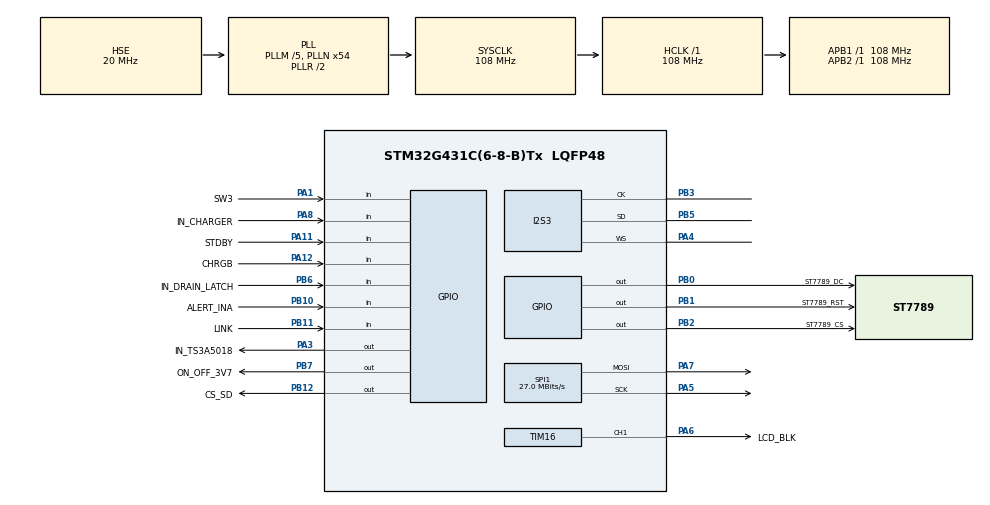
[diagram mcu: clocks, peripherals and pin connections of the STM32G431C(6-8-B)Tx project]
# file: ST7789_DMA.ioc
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Dma.Request0=SPI1_TX
Dma.SPI1_TX.0.Direction=DMA_MEMORY_TO_PERIPH
Dma.SPI1_TX.0.EventEnable=DISABLE
Dma.SPI1_TX.0.Instance=DMA1_Channel1
Dma.SPI1_TX.0.MemDataAlignment=DMA_MDATAALIGN_BYTE
Dma.SPI1_TX.0.MemInc=DMA_MINC_ENABLE
Dma.SPI1_TX.0.Mode=DMA_NORMAL
Dma.SPI1_TX.0.PeriphDataAlignment=DMA_PDATAALIGN_BYTE
Dma.SPI1_TX.0.PeriphInc=DMA_PINC_DISABLE
Dma.SPI1_TX.0.Polarity=HAL_DMAMUX_REQ_GEN_RISING
Dma.SPI1_TX.0.Priority=DMA_PRIORITY_LOW
Dma.SPI1_TX.0.RequestNumber=1
Dma.SPI1_TX.0.SignalID=NONE
Dma.SPI1_TX.0.SyncEnable=DISABLE
Dma.SPI1_TX.0.SyncPolarity=HAL_DMAMUX_SYNC_NO_EVENT
Dma.SPI1_TX.0.SyncRequestNumber=1
Dma.SPI1_TX.0.SyncSignalID=NONE
I2S3.AudioFreq=I2S_AUDIOFREQ_44K
I2S3.ErrorAudioFreq=-0.38 %
I2S3.FullDuplexMode=I2S_FULLDUPLEXMODE_DISABLE
I2S3.Instance=SPI$Index
I2S3.RealAudioFreq=43.831 KHz
I2S3.VirtualMode=I2S_MODE_MASTER
Mcu.Family=STM32G4
Mcu.Name=STM32G431C(6-8-B)Tx
Mcu.Package=LQFP48
NVIC.DMA1_Channel1_IRQn=true\:0\:0\:false\:false\:true\:false\:true\:true
NVIC.PriorityGroup=NVIC_PRIORITYGROUP_4
PA0.Mode=SYS_WakeUp0
PA0.Signal=SYS_WKUP1
PA1.GPIO_Label=SW3
PA1.Signal=GPIO_Input
PA11.GPIO_Label=STDBY
PA11.Signal=GPIO_Input
PA12.GPIO_Label=CHRGB
PA12.Signal=GPIO_Input
PA13.Mode=Serial_Wire
PA13.Signal=SYS_JTMS-SWDIO
PA14.Mode=Serial_Wire
PA14.Signal=SYS_JTCK-SWCLK
PA2.Mode=SYS_WakeUp3
PA2.Signal=SYS_WKUP4
PA3.GPIO_Label=IN_TS3A5018
PA3.Signal=GPIO_Output
PA4.Mode=Half_Duplex_Master
PA4.Signal=I2S3_WS
PA5.Mode=TX_Only_Simplex_Unidirect_Master
PA5.Signal=SPI1_SCK
PA6.GPIO_Label=LCD_BLK
PA6.Signal=S_TIM16_CH1
PA7.Mode=TX_Only_Simplex_Unidirect_Master
PA7.Signal=SPI1_MOSI
PA8.GPIO_Label=IN_CHARGER
PA8.Signal=GPIO_Input
PB0.GPIO_Label=ST7789_DC
PB0.GPIO_Speed=GPIO_SPEED_FREQ_VERY_HIGH
PB0.Signal=GPIO_Output
PB1.GPIO_Label=ST7789_RST
PB1.GPIO_Speed=GPIO_SPEED_FREQ_VERY_HIGH
PB1.Signal=GPIO_Output
PB10.GPIO_Label=ALERT_INA
PB10.GPIO_PuPd=GPIO_PULLUP
PB10.Signal=GPIO_Input
PB11.GPIO_Label=LINK
PB11.Signal=GPIO_Input
PB12.GPIO_Label=CS_SD
PB12.Signal=GPIO_Output
PB13.Signal=SPI2_SCK
PB2.GPIO_Label=ST7789_CS
PB2.GPIO_Speed=GPIO_SPEED_FREQ_VERY_HIGH
PB2.PinState=GPIO_PIN_SET
PB2.Signal=GPIO_Output
PB3.Mode=Half_Duplex_Master
PB3.Signal=I2S3_CK
PB5.Mode=Half_Duplex_Master
PB5.Signal=I2S3_SD
PB6.GPIO_Label=IN_DRAIN_LATCH
PB6.Signal=GPIO_Input
PB7.GPIO_Label=ON_OFF_3V7
PB7.Signal=GPIO_Output
PB9.Signal=I2C1_SDA
PC13.Mode=SYS_WakeUp1
PC13.Signal=SYS_WKUP2
PF0-OSC_IN.Mode=HSE-External-Oscillator
PF0-OSC_IN.Signal=RCC_OSC_IN
PF1-OSC_OUT.Mode=HSE-External-Oscillator
PF1-OSC_OUT.Signal=RCC_OSC_OUT
ProjectManager.HeapSize=0x200
ProjectManager.StackSize=0x400
ProjectManager.TargetToolchain=STM32CubeIDE
RCC.ADC12Freq_Value=108000000
RCC.AHBFreq_Value=108000000
RCC.APB1Freq_Value=108000000
RCC.APB1TimFreq_Value=108000000
RCC.APB2Freq_Value=108000000
RCC.APB2TimFreq_Value=108000000
RCC.CortexFreq_Value=108000000
RCC.EXTERNAL_CLOCK_VALUE=12288000
RCC.HCLKFreq_Value=108000000
RCC.HSE_VALUE=20000000
RCC.HSI48_VALUE=48000000
RCC.HSI_VALUE=16000000
RCC.LSE_VALUE=32768
RCC.PLLM=RCC_PLLM_DIV5
RCC.PLLN=54
RCC.PLLSourceVirtual=RCC_PLLSOURCE_HSE
RCC.SYSCLKFreq_VALUE=108000000
RCC.SYSCLKSource=RCC_SYSCLKSOURCE_PLLCLK
RCC.USBFreq_Value=108000000
RCC.VCOOutputFreq_Value=216000000
SH.S_TIM16_CH1.0=TIM16_CH1,PWM Generation1 CH1
SPI1.BaudRatePrescaler=SPI_BAUDRATEPRESCALER_4
SPI1.CLKPhase=SPI_PHASE_1EDGE
SPI1.CLKPolarity=SPI_POLARITY_HIGH
SPI1.CalculateBaudRate=27.0 MBits/s
SPI1.DataSize=SPI_DATASIZE_8BIT
SPI1.Direction=SPI_DIRECTION_2LINES
SPI1.Mode=SPI_MODE_MASTER
SPI1.VirtualType=VM_MASTER
TIM16.Channel=TIM_CHANNEL_1
TIM16.PeriodNoDither=209
TIM16.Prescaler=170-1
TIM16.PulseNoDither_1=105
VP_SYS_VS_DBSignals.Mode=DisableDeadBatterySignals
VP_TIM16_VS_ClockSourceINT.Mode=Enable_Timer
board=custom

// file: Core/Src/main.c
/* USER CODE BEGIN Header */
/**
  ******************************************************************************
  * @file           : main.c
  * @brief          : Main program body
  ******************************************************************************
  * @attention
  *
  * Copyright (c) 2025 STMicroelectronics.
  * All rights reserved.
  *
  * This software is licensed under terms that can be found in the LICENSE file
  * in the root directory of this software component.
  * If no LICENSE file comes with this software, it is provided AS-IS.
  *
  ******************************************************************************
  */
/* USER CODE END Header */
#include "main.h"

/* USER CODE BEGIN Includes */
#include "stdio.h"
#include "st7789.h"
/* USER CODE END Includes */

I2S_HandleTypeDef hi2s3;

SPI_HandleTypeDef hspi1;
DMA_HandleTypeDef hdma_spi1_tx;

TIM_HandleTypeDef htim16;

/* USER CODE BEGIN PV */
uint16_t freq_BLK = 5000;//5khz
uint16_t contInt=0;
float contFloat=0.0;
char buff[32];

/* USER CODE END PV */

void SystemClock_Config(void);
static void MX_GPIO_Init(void);
static void MX_DMA_Init(void);
static void MX_SPI1_Init(void);
static void MX_TIM16_Init(void);
static void MX_I2S3_Init(void);
/* USER CODE BEGIN PFP */
void PWM_set_Freq_DutyCycle(uint16_t freq, uint8_t duty);

/* USER CODE END PFP */

int main(void)
{

  /* MCU Configuration--------------------------------------------------------*/

  /* Reset of all peripherals, Initializes the Flash interface and the Systick. */
  HAL_Init();

  /* Configure the system clock */
  SystemClock_Config();

  /* Initialize all configured peripherals */
  MX_GPIO_Init();
  MX_DMA_Init();
  MX_SPI1_Init();
  MX_TIM16_Init();
  MX_I2S3_Init();
  /* USER CODE BEGIN 2 */
  PWM_set_Freq_DutyCycle(freq_BLK,100);
  ST7789_Init();

  //ST7789_DrawImage(0, 0, 320, 170, (uint16_t *)korn_128x320);
  //ST7789_DrawImage(0, 0, 320, 170, (uint16_t *)korn_170x320);
  //ST7789_DrawImage(0, 0, 128, 128, (uint16_t *)saber);
  //ST7789_Test();

  /* USER CODE END 2 */

  /* Infinite loop */
  /* USER CODE BEGIN WHILE */
  while (1)
  {

	  Measure_FPS_Time();

	  /*contInt++;
      sprintf(buff,"INT:%dmA",contInt);
      ST7789_Print(20, 40, RED, WHITE, Font_12x20, buff);
      //ST7789_WriteString(0, 20, buff, Font_11x18, WHITE, RED, 1);

      contFloat+=0.1;
      sprintf(buff,"FLOAT:%4.2fV",contFloat);
      ST7789_Print(100, 20, BLUE, GREEN, Font_15x25, buff);
      //ST7789_WriteString(0, 100, buff, Font_16x26, BLUE, GREEN, 1);*/

    /* USER CODE END WHILE */

  }
}

void SystemClock_Config(void)
{
  RCC_OscInitTypeDef RCC_OscInitStruct = {0};
  RCC_ClkInitTypeDef RCC_ClkInitStruct = {0};

  /** Configure the main internal regulator output voltage
  */
  HAL_PWREx_ControlVoltageScaling(PWR_REGULATOR_VOLTAGE_SCALE1);

  /** Initializes the RCC Oscillators according to the specified parameters
  * in the RCC_OscInitTypeDef structure.
  */
  RCC_OscInitStruct.OscillatorType = RCC_OSCILLATORTYPE_HSE;
  RCC_OscInitStruct.HSEState = RCC_HSE_ON;
  RCC_OscInitStruct.PLL.PLLState = RCC_PLL_ON;
  RCC_OscInitStruct.PLL.PLLSource = RCC_PLLSOURCE_HSE;
  RCC_OscInitStruct.PLL.PLLM = RCC_PLLM_DIV5;
  RCC_OscInitStruct.PLL.PLLN = 54;
  RCC_OscInitStruct.PLL.PLLP = RCC_PLLP_DIV2;
  RCC_OscInitStruct.PLL.PLLQ = RCC_PLLQ_DIV2;
  RCC_OscInitStruct.PLL.PLLR = RCC_PLLR_DIV2;
  if (HAL_RCC_OscConfig(&RCC_OscInitStruct) != HAL_OK)
  {
    Error_Handler();
  }

  /** Initializes the CPU, AHB and APB buses clocks
  */
  RCC_ClkInitStruct.ClockType = RCC_CLOCKTYPE_HCLK|RCC_CLOCKTYPE_SYSCLK
                              |RCC_CLOCKTYPE_PCLK1|RCC_CLOCKTYPE_PCLK2;
  RCC_ClkInitStruct.SYSCLKSource = RCC_SYSCLKSOURCE_PLLCLK;
  RCC_ClkInitStruct.AHBCLKDivider = RCC_SYSCLK_DIV1;
  RCC_ClkInitStruct.APB1CLKDivider = RCC_HCLK_DIV1;
  RCC_ClkInitStruct.APB2CLKDivider = RCC_HCLK_DIV1;

  if (HAL_RCC_ClockConfig(&RCC_ClkInitStruct, FLASH_LATENCY_3) != HAL_OK)
  {
    Error_Handler();
  }
}

static void MX_I2S3_Init(void)
{

  hi2s3.Instance = SPI3;
  hi2s3.Init.Mode = I2S_MODE_MASTER_TX;
  hi2s3.Init.Standard = I2S_STANDARD_PHILIPS;
  hi2s3.Init.DataFormat = I2S_DATAFORMAT_16B;
  hi2s3.Init.MCLKOutput = I2S_MCLKOUTPUT_DISABLE;
  hi2s3.Init.AudioFreq = I2S_AUDIOFREQ_44K;
  hi2s3.Init.CPOL = I2S_CPOL_LOW;
  if (HAL_I2S_Init(&hi2s3) != HAL_OK)
  {
    Error_Handler();
  }

}

static void MX_SPI1_Init(void)
{

  /* SPI1 parameter configuration*/
  hspi1.Instance = SPI1;
  hspi1.Init.Mode = SPI_MODE_MASTER;
  hspi1.Init.Direction = SPI_DIRECTION_2LINES;
  hspi1.Init.DataSize = SPI_DATASIZE_8BIT;
  hspi1.Init.CLKPolarity = SPI_POLARITY_HIGH;
  hspi1.Init.CLKPhase = SPI_PHASE_1EDGE;
  hspi1.Init.NSS = SPI_NSS_SOFT;
  hspi1.Init.BaudRatePrescaler = SPI_BAUDRATEPRESCALER_4;
  hspi1.Init.FirstBit = SPI_FIRSTBIT_MSB;
  hspi1.Init.TIMode = SPI_TIMODE_DISABLE;
  hspi1.Init.CRCCalculation = SPI_CRCCALCULATION_DISABLE;
  hspi1.Init.CRCPolynomial = 7;
  hspi1.Init.CRCLength = SPI_CRC_LENGTH_DATASIZE;
  hspi1.Init.NSSPMode = SPI_NSS_PULSE_ENABLE;
  if (HAL_SPI_Init(&hspi1) != HAL_OK)
  {
    Error_Handler();
  }

}

static void MX_TIM16_Init(void)
{

  TIM_OC_InitTypeDef sConfigOC = {0};
  TIM_BreakDeadTimeConfigTypeDef sBreakDeadTimeConfig = {0};

  htim16.Instance = TIM16;
  htim16.Init.Prescaler = 170-1;
  htim16.Init.CounterMode = TIM_COUNTERMODE_UP;
  htim16.Init.Period = 209;
  htim16.Init.ClockDivision = TIM_CLOCKDIVISION_DIV1;
  htim16.Init.RepetitionCounter = 0;
  htim16.Init.AutoReloadPreload = TIM_AUTORELOAD_PRELOAD_DISABLE;
  if (HAL_TIM_Base_Init(&htim16) != HAL_OK)
  {
    Error_Handler();
  }
  if (HAL_TIM_PWM_Init(&htim16) != HAL_OK)
  {
    Error_Handler();
  }
  sConfigOC.OCMode = TIM_OCMODE_PWM1;
  sConfigOC.Pulse = 105;
  sConfigOC.OCPolarity = TIM_OCPOLARITY_HIGH;
  sConfigOC.OCNPolarity = TIM_OCNPOLARITY_HIGH;
  sConfigOC.OCFastMode = TIM_OCFAST_DISABLE;
  sConfigOC.OCIdleState = TIM_OCIDLESTATE_RESET;
  sConfigOC.OCNIdleState = TIM_OCNIDLESTATE_RESET;
  if (HAL_TIM_PWM_ConfigChannel(&htim16, &sConfigOC, TIM_CHANNEL_1) != HAL_OK)
  {
    Error_Handler();
  }
  sBreakDeadTimeConfig.OffStateRunMode = TIM_OSSR_DISABLE;
  sBreakDeadTimeConfig.OffStateIDLEMode = TIM_OSSI_DISABLE;
  sBreakDeadTimeConfig.LockLevel = TIM_LOCKLEVEL_OFF;
  sBreakDeadTimeConfig.DeadTime = 0;
  sBreakDeadTimeConfig.BreakState = TIM_BREAK_DISABLE;
  sBreakDeadTimeConfig.BreakPolarity = TIM_BREAKPOLARITY_HIGH;
  sBreakDeadTimeConfig.BreakFilter = 0;
  sBreakDeadTimeConfig.AutomaticOutput = TIM_AUTOMATICOUTPUT_DISABLE;
  if (HAL_TIMEx_ConfigBreakDeadTime(&htim16, &sBreakDeadTimeConfig) != HAL_OK)
  {
    Error_Handler();
  }
  HAL_TIM_MspPostInit(&htim16);

}

static void MX_DMA_Init(void)
{

  /* DMA controller clock enable */
  __HAL_RCC_DMAMUX1_CLK_ENABLE();
  __HAL_RCC_DMA1_CLK_ENABLE();

  /* DMA interrupt init */
  /* DMA1_Channel1_IRQn interrupt configuration */
  HAL_NVIC_SetPriority(DMA1_Channel1_IRQn, 0, 0);
  HAL_NVIC_EnableIRQ(DMA1_Channel1_IRQn);

}

static void MX_GPIO_Init(void)
{
  GPIO_InitTypeDef GPIO_InitStruct = {0};

  /* GPIO Ports Clock Enable */
  __HAL_RCC_GPIOC_CLK_ENABLE();
  __HAL_RCC_GPIOF_CLK_ENABLE();
  __HAL_RCC_GPIOA_CLK_ENABLE();
  __HAL_RCC_GPIOB_CLK_ENABLE();

  /*Configure GPIO pin Output Level */
  HAL_GPIO_WritePin(IN_TS3A5018_GPIO_Port, IN_TS3A5018_Pin, GPIO_PIN_RESET);

  /*Configure GPIO pin Output Level */
  HAL_GPIO_WritePin(GPIOB, ST7789_DC_Pin|ST7789_RST_Pin|CS_SD_Pin|ON_OFF_3V7_Pin, GPIO_PIN_RESET);

  /*Configure GPIO pin Output Level */
  HAL_GPIO_WritePin(ST7789_CS_GPIO_Port, ST7789_CS_Pin, GPIO_PIN_SET);

  /*Configure GPIO pins : SW3_Pin IN_CHARGER_Pin STDBY_Pin CHRGB_Pin */
  GPIO_InitStruct.Pin = SW3_Pin|IN_CHARGER_Pin|STDBY_Pin|CHRGB_Pin;
  GPIO_InitStruct.Mode = GPIO_MODE_INPUT;
  GPIO_InitStruct.Pull = GPIO_NOPULL;
  HAL_GPIO_Init(GPIOA, &GPIO_InitStruct);

  /*Configure GPIO pin : IN_TS3A5018_Pin */
  GPIO_InitStruct.Pin = IN_TS3A5018_Pin;
  GPIO_InitStruct.Mode = GPIO_MODE_OUTPUT_PP;
  GPIO_InitStruct.Pull = GPIO_NOPULL;
  GPIO_InitStruct.Speed = GPIO_SPEED_FREQ_LOW;
  HAL_GPIO_Init(IN_TS3A5018_GPIO_Port, &GPIO_InitStruct);

  /*Configure GPIO pins : ST7789_DC_Pin ST7789_RST_Pin ST7789_CS_Pin */
  GPIO_InitStruct.Pin = ST7789_DC_Pin|ST7789_RST_Pin|ST7789_CS_Pin;
  GPIO_InitStruct.Mode = GPIO_MODE_OUTPUT_PP;
  GPIO_InitStruct.Pull = GPIO_NOPULL;
  GPIO_InitStruct.Speed = GPIO_SPEED_FREQ_VERY_HIGH;
  HAL_GPIO_Init(GPIOB, &GPIO_InitStruct);

  /*Configure GPIO pin : ALERT_INA_Pin */
  GPIO_InitStruct.Pin = ALERT_INA_Pin;
  GPIO_InitStruct.Mode = GPIO_MODE_INPUT;
  GPIO_InitStruct.Pull = GPIO_PULLUP;
  HAL_GPIO_Init(ALERT_INA_GPIO_Port, &GPIO_InitStruct);

  /*Configure GPIO pins : LINK_Pin IN_DRAIN_LATCH_Pin */
  GPIO_InitStruct.Pin = LINK_Pin|IN_DRAIN_LATCH_Pin;
  GPIO_InitStruct.Mode = GPIO_MODE_INPUT;
  GPIO_InitStruct.Pull = GPIO_NOPULL;
  HAL_GPIO_Init(GPIOB, &GPIO_InitStruct);

  /*Configure GPIO pins : CS_SD_Pin ON_OFF_3V7_Pin */
  GPIO_InitStruct.Pin = CS_SD_Pin|ON_OFF_3V7_Pin;
  GPIO_InitStruct.Mode = GPIO_MODE_OUTPUT_PP;
  GPIO_InitStruct.Pull = GPIO_NOPULL;
  GPIO_InitStruct.Speed = GPIO_SPEED_FREQ_LOW;
  HAL_GPIO_Init(GPIOB, &GPIO_InitStruct);

  /*Configure GPIO pin : PB13 */
  GPIO_InitStruct.Pin = GPIO_PIN_13;
  GPIO_InitStruct.Mode = GPIO_MODE_AF_PP;
  GPIO_InitStruct.Pull = GPIO_NOPULL;
  GPIO_InitStruct.Speed = GPIO_SPEED_FREQ_LOW;
  GPIO_InitStruct.Alternate = GPIO_AF5_SPI2;
  HAL_GPIO_Init(GPIOB, &GPIO_InitStruct);

  /*Configure GPIO pin : PB9 */
  GPIO_InitStruct.Pin = GPIO_PIN_9;
  GPIO_InitStruct.Mode = GPIO_MODE_AF_OD;
  GPIO_InitStruct.Pull = GPIO_NOPULL;
  GPIO_InitStruct.Speed = GPIO_SPEED_FREQ_LOW;
  GPIO_InitStruct.Alternate = GPIO_AF4_I2C1;
  HAL_GPIO_Init(GPIOB, &GPIO_InitStruct);

}

/* USER CODE BEGIN 4 */
void PWM_set_Freq_DutyCycle(uint16_t freq, uint8_t duty){
	/*
	 * La frecuencia a la que opera el uC es de 48000000Hz
	 *
	 * El prescaler PSC-16bits divide a esta frecuencia
	 * 48000000/48 = 1000000Hz = 1Mhz
	 *
	 * El CounterPeriod solo es un contador de 0 - 65535 y cuando lo establecemos en un valor digamos 10000
	 * entonces va contar de 0  a 10000 y luego se desbordara es decir reiniciara y empezara de cero otra vez hasta 10000
	 * Ahora el CounterPeriod sirve para cambiar el periodo y con esto la frecuencia T = 1 / freq
	 * 		__HAL_TIM_GET_AUTORELOAD(&htim16): Esta función devuelve el valor actual del registro ARR (Auto-Reload Register)
	 * 		del temporizador, que representa el Counter Period.
	 * */
	uint16_t valor_CCR;
	uint32_t CounterPeriod;//en microsegundos
	uint32_t freqOsc = HAL_RCC_GetHCLKFreq();//obtiene la frecuencia del OSC en Hz (48000000)
	uint16_t prescaler = 170;//PSC-16bits

	if(duty > 100) duty = 100;
	CounterPeriod = freqOsc/(freq*prescaler);//aqui nos da el periodo en microsegundos
	//y este periodo(CounterPeriod) necesita la funcion __HAL_TIM_SET_AUTORELOAD

    HAL_TIM_PWM_Start(&htim16, TIM_CHANNEL_1);//inicia la generacion de la señal PWM
    //modificamos el valor del CounterPeriod y con esto modificamos la frecuencia de salida
	__HAL_TIM_SET_AUTORELOAD(&htim16,CounterPeriod);//Si quiero cambiar la frecuencia modifico: __HAL_TIM_SET_AUTORELOAD(&htim16, 1000000/frecuencia que quiero) 1000000porque es microsegundos
	//CounterPeriod = __HAL_TIM_GET_AUTORELOAD(&htim16)
	//visto con un analizador logico en un 50% de duty me da 49.5% y cuando le sumo 2 me da 50.05%
	valor_CCR = (CounterPeriod + 2)* duty/100.0;//divido entre 100 porque quiero de 0 a 100%, cambiar el rango si se desea
    __HAL_TIM_SET_COMPARE(&htim16, TIM_CHANNEL_1, valor_CCR);
    //HAL_Delay(500);
    //HAL_TIM_PWM_Stop(&htim16, TIM_CHANNEL_1);//aqui detengo la generacion del PWM, pero para mi caso necesito que siempre ete activado
}

/* USER CODE END 4 */

void Error_Handler(void)
{
  __disable_irq();
  while (1)
  {
  }
}
